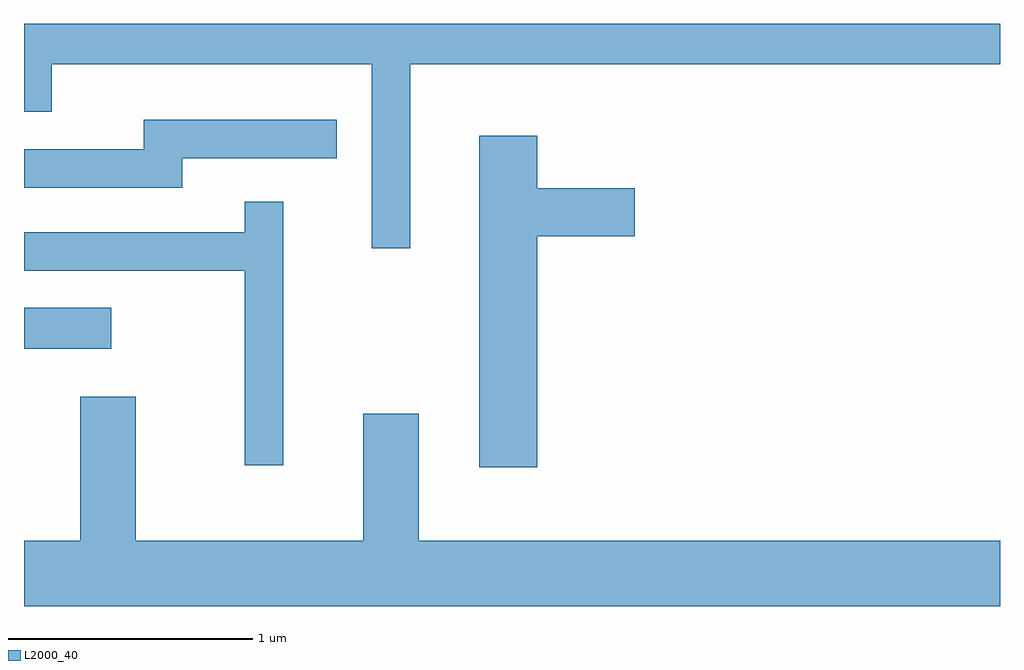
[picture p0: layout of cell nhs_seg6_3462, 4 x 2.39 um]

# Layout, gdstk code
import gdstk
lib = gdstk.Library(unit=1e-6, precision=1e-09)
def R(c, l, rs):  # rectangles x0, y0, x1, y1
    for r in rs: c.add(gdstk.rectangle(r[:2], r[2:], *l))
def P(c, l, *ps):  # polygons
    for p in ps: c.add(gdstk.Polygon(p, *l))
L2000_40 = (2000, 40)

nhs_seg6_3462 = lib.new_cell('nhs_seg6_3462')
R(nhs_seg6_3462, L2000_40, [(289.611,1588.831,289.968,1588.999)])
P(nhs_seg6_3462, L2000_40, [(291.194,1589.996),(293.611,1589.996),(293.611,1590.162),(289.611,1590.162),(289.611,1589.801),(289.724,1589.801),(289.724,1589.996),(291.036,1589.996),(291.036,1589.243),(291.194,1589.243)],
  [(290.259,1589.611),(290.893,1589.611),(290.893,1589.769),(290.101,1589.769),(290.101,1589.649),(289.611,1589.649),(289.611,1589.491),(290.259,1589.491)],
  [(291.714,1589.291),(292.114,1589.291),(292.114,1589.489),(291.714,1589.489),(291.714,1589.704),(291.476,1589.704),(291.476,1588.346),(291.714,1588.346)],
  [(290.674,1589.433),(290.516,1589.433),(290.516,1589.309),(289.611,1589.309),(289.611,1589.151),(290.516,1589.151),(290.516,1588.353),(290.674,1588.353)],
  [(293.611,1588.044),(291.229,1588.044),(291.229,1588.564),(291.001,1588.564),(291.001,1588.044),(290.069,1588.044),(290.069,1588.634),(289.841,1588.634),(289.841,1588.044),(289.611,1588.044),(289.611,1587.776),(293.611,1587.776)])

lib.write_gds('nhs_seg6_3462.gds')
